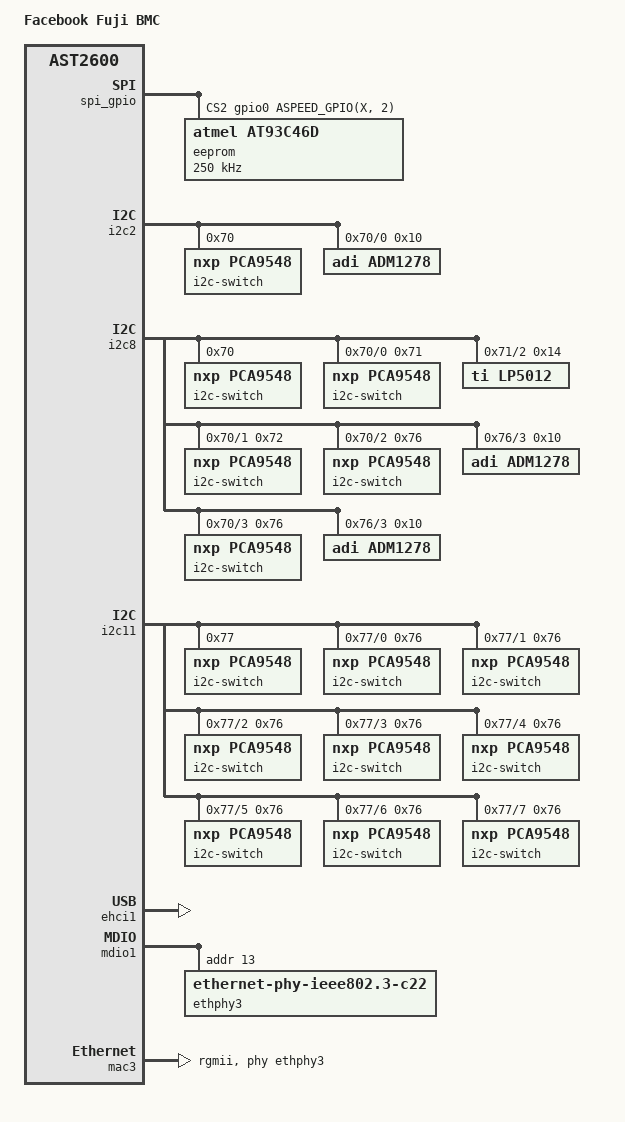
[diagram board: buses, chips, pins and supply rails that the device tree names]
// SPDX-License-Identifier: GPL-2.0+
// Copyright (c) 2020 Facebook Inc.

/dts-v1/;

#include <dt-bindings/leds/common.h>
#include "ast2600-facebook-netbmc-common.dtsi"

/ {
	model = "Facebook Fuji BMC";
	compatible = "facebook,fuji-bmc", "aspeed,ast2600";

	aliases {
		/*
		 * PCA9548 (2-0070) provides 8 channels connecting to
		 * SCM (System Controller Module).
		 */
		i2c16 = &imux16;
		i2c17 = &imux17;
		i2c18 = &imux18;
		i2c19 = &imux19;
		i2c20 = &imux20;
		i2c21 = &imux21;
		i2c22 = &imux22;
		i2c23 = &imux23;

		/*
		 * PCA9548 (8-0070) provides 8 channels connecting to
		 * SMB (Switch Main Board).
		 */
		i2c24 = &imux24;
		i2c25 = &imux25;
		i2c26 = &imux26;
		i2c27 = &imux27;
		i2c28 = &imux28;
		i2c29 = &imux29;
		i2c30 = &imux30;
		i2c31 = &imux31;

		/*
		 * PCA9548 (11-0077) provides 8 channels connecting to
		 * SMB (Switch Main Board).
		 */
		i2c40 = &imux40;
		i2c41 = &imux41;
		i2c42 = &imux42;
		i2c43 = &imux43;
		i2c44 = &imux44;
		i2c45 = &imux45;
		i2c46 = &imux46;
		i2c47 = &imux47;

		/*
		 * PCA9548 (24-0071) provides 8 channels connecting to
		 * PDB-Left.
		 */
		i2c48 = &imux48;
		i2c49 = &imux49;
		i2c50 = &imux50;
		i2c51 = &imux51;
		i2c52 = &imux52;
		i2c53 = &imux53;
		i2c54 = &imux54;
		i2c55 = &imux55;

		/*
		 * PCA9548 (25-0072) provides 8 channels connecting to
		 * PDB-Right.
		 */
		i2c56 = &imux56;
		i2c57 = &imux57;
		i2c58 = &imux58;
		i2c59 = &imux59;
		i2c60 = &imux60;
		i2c61 = &imux61;
		i2c62 = &imux62;
		i2c63 = &imux63;

		/*
		 * PCA9548 (26-0076) provides 8 channels connecting to
		 * FCM1.
		 */
		i2c64 = &imux64;
		i2c65 = &imux65;
		i2c66 = &imux66;
		i2c67 = &imux67;
		i2c68 = &imux68;
		i2c69 = &imux69;
		i2c70 = &imux70;
		i2c71 = &imux71;

		/*
		 * PCA9548 (27-0076) provides 8 channels connecting to
		 * FCM2.
		 */
		i2c72 = &imux72;
		i2c73 = &imux73;
		i2c74 = &imux74;
		i2c75 = &imux75;
		i2c76 = &imux76;
		i2c77 = &imux77;
		i2c78 = &imux78;
		i2c79 = &imux79;

		/*
		 * PCA9548 (40-0076) provides 8 channels connecting to
		 * PIM1.
		 */
		i2c80 = &imux80;
		i2c81 = &imux81;
		i2c82 = &imux82;
		i2c83 = &imux83;
		i2c84 = &imux84;
		i2c85 = &imux85;
		i2c86 = &imux86;
		i2c87 = &imux87;

		/*
		 * PCA9548 (41-0076) provides 8 channels connecting to
		 * PIM2.
		 */
		i2c88 = &imux88;
		i2c89 = &imux89;
		i2c90 = &imux90;
		i2c91 = &imux91;
		i2c92 = &imux92;
		i2c93 = &imux93;
		i2c94 = &imux94;
		i2c95 = &imux95;

		/*
		 * PCA9548 (42-0076) provides 8 channels connecting to
		 * PIM3.
		 */
		i2c96 = &imux96;
		i2c97 = &imux97;
		i2c98 = &imux98;
		i2c99 = &imux99;
		i2c100 = &imux100;
		i2c101 = &imux101;
		i2c102 = &imux102;
		i2c103 = &imux103;

		/*
		 * PCA9548 (43-0076) provides 8 channels connecting to
		 * PIM4.
		 */
		i2c104 = &imux104;
		i2c105 = &imux105;
		i2c106 = &imux106;
		i2c107 = &imux107;
		i2c108 = &imux108;
		i2c109 = &imux109;
		i2c110 = &imux110;
		i2c111 = &imux111;

		/*
		 * PCA9548 (44-0076) provides 8 channels connecting to
		 * PIM5.
		 */
		i2c112 = &imux112;
		i2c113 = &imux113;
		i2c114 = &imux114;
		i2c115 = &imux115;
		i2c116 = &imux116;
		i2c117 = &imux117;
		i2c118 = &imux118;
		i2c119 = &imux119;

		/*
		 * PCA9548 (45-0076) provides 8 channels connecting to
		 * PIM6.
		 */
		i2c120 = &imux120;
		i2c121 = &imux121;
		i2c122 = &imux122;
		i2c123 = &imux123;
		i2c124 = &imux124;
		i2c125 = &imux125;
		i2c126 = &imux126;
		i2c127 = &imux127;

		/*
		 * PCA9548 (46-0076) provides 8 channels connecting to
		 * PIM7.
		 */
		i2c128 = &imux128;
		i2c129 = &imux129;
		i2c130 = &imux130;
		i2c131 = &imux131;
		i2c132 = &imux132;
		i2c133 = &imux133;
		i2c134 = &imux134;
		i2c135 = &imux135;

		/*
		 * PCA9548 (47-0076) provides 8 channels connecting to
		 * PIM8.
		 */
		i2c136 = &imux136;
		i2c137 = &imux137;
		i2c138 = &imux138;
		i2c139 = &imux139;
		i2c140 = &imux140;
		i2c141 = &imux141;
		i2c142 = &imux142;
		i2c143 = &imux143;
	};

	spi_gpio: spi-gpio {
		num-chipselects = <3>;
		cs-gpios = <&gpio0 ASPEED_GPIO(X, 0) GPIO_ACTIVE_LOW>,
			   <0>,	/* device reg=<1> does not exist */
			   <&gpio0 ASPEED_GPIO(X, 2) GPIO_ACTIVE_HIGH>;

		eeprom@2 {
			compatible = "atmel,at93c46d";
			spi-max-frequency = <250000>;
			data-size = <16>;
			spi-cs-high;
			reg = <2>;
		};
	};
};

&i2c0 {
	multi-master;
	bus-frequency = <1000000>;
};

&i2c2 {
	/*
	 * PCA9548 (2-0070) provides 8 channels connecting to SCM (System
	 * Controller Module).
	 */
	i2c-switch@70 {
		compatible = "nxp,pca9548";
		#address-cells = <1>;
		#size-cells = <0>;
		reg = <0x70>;
		i2c-mux-idle-disconnect;

		imux16: i2c@0 {
			#address-cells = <1>;
			#size-cells = <0>;
			reg = <0>;

			adm1278@10 {
				compatible = "adi,adm1278";
				reg = <0x10>;
				#address-cells = <1>;
				#size-cells = <0>;
				shunt-resistor-micro-ohms = <1500>;
			};
		};

		imux17: i2c@1 {
			#address-cells = <1>;
			#size-cells = <0>;
			reg = <1>;
		};

		imux18: i2c@2 {
			#address-cells = <1>;
			#size-cells = <0>;
			reg = <2>;
		};

		imux19: i2c@3 {
			#address-cells = <1>;
			#size-cells = <0>;
			reg = <3>;
		};

		imux20: i2c@4 {
			#address-cells = <1>;
			#size-cells = <0>;
			reg = <4>;
		};

		imux21: i2c@5 {
			#address-cells = <1>;
			#size-cells = <0>;
			reg = <5>;
		};

		imux22: i2c@6 {
			#address-cells = <1>;
			#size-cells = <0>;
			reg = <6>;
		};

		imux23: i2c@7 {
			#address-cells = <1>;
			#size-cells = <0>;
			reg = <7>;
		};
	};
};

&i2c8 {
	/*
	 * PCA9548 (8-0070) provides 8 channels connecting to SMB (Switch
	 * Main Board).
	 */
	i2c-switch@70 {
		compatible = "nxp,pca9548";
		#address-cells = <1>;
		#size-cells = <0>;
		reg = <0x70>;
		i2c-mux-idle-disconnect;

		imux24: i2c@0 {
			#address-cells = <1>;
			#size-cells = <0>;
			reg = <0>;

			i2c-switch@71 {
				compatible = "nxp,pca9548";
				#address-cells = <1>;
				#size-cells = <0>;
				reg = <0x71>;
				i2c-mux-idle-disconnect;

				imux48: i2c@0 {
					#address-cells = <1>;
					#size-cells = <0>;
					reg = <0>;
				};

				imux49: i2c@1 {
					#address-cells = <1>;
					#size-cells = <0>;
					reg = <1>;
				};

				imux50: i2c@2 {
					#address-cells = <1>;
					#size-cells = <0>;
					reg = <2>;

					lp5012@14 {
						compatible = "ti,lp5012";
						reg = <0x14>;
						#address-cells = <1>;
						#size-cells = <0>;

						multi-led@0 {
							#address-cells = <1>;
							#size-cells = <0>;
							reg = <0>;
							color = <LED_COLOR_ID_MULTI>;
							function = LED_FUNCTION_ACTIVITY;
							label = "sys";

							led@0 {
								reg = <0>;
								color = <LED_COLOR_ID_RED>;
							};

							led@1 {
								reg = <1>;
								color = <LED_COLOR_ID_BLUE>;
							};

							led@2 {
								reg = <2>;
								color = <LED_COLOR_ID_GREEN>;
							};
						};

						multi-led@1 {
							#address-cells = <1>;
							#size-cells = <0>;
							reg = <1>;
							color = <LED_COLOR_ID_MULTI>;
							function = LED_FUNCTION_ACTIVITY;
							label = "fan";

							led@0 {
								reg = <0>;
								color = <LED_COLOR_ID_RED>;
							};

							led@1 {
								reg = <1>;
								color = <LED_COLOR_ID_BLUE>;
							};

							led@2 {
								reg = <2>;
								color = <LED_COLOR_ID_GREEN>;
							};
						};

						multi-led@2 {
							#address-cells = <1>;
							#size-cells = <0>;
							reg = <2>;
							color = <LED_COLOR_ID_MULTI>;
							function = LED_FUNCTION_ACTIVITY;
							label = "psu";

							led@0 {
								reg = <0>;
								color = <LED_COLOR_ID_RED>;
							};

							led@1 {
								reg = <1>;
								color = <LED_COLOR_ID_BLUE>;
							};

							led@2 {
								reg = <2>;
								color = <LED_COLOR_ID_GREEN>;
							};
						};

						multi-led@3 {
							#address-cells = <1>;
							#size-cells = <0>;
							reg = <3>;
							color = <LED_COLOR_ID_MULTI>;
							function = LED_FUNCTION_ACTIVITY;
							label = "smb";

							led@0 {
								reg = <0>;
								color = <LED_COLOR_ID_RED>;
							};

							led@1 {
								reg = <1>;
								color = <LED_COLOR_ID_BLUE>;
							};

							led@2 {
								reg = <2>;
								color = <LED_COLOR_ID_GREEN>;
							};
						};
					};
				};

				imux51: i2c@3 {
					#address-cells = <1>;
					#size-cells = <0>;
					reg = <3>;
				};

				imux52: i2c@4 {
					#address-cells = <1>;
					#size-cells = <0>;
					reg = <4>;
				};

				imux53: i2c@5 {
					#address-cells = <1>;
					#size-cells = <0>;
					reg = <5>;
				};

				imux54: i2c@6 {
					#address-cells = <1>;
					#size-cells = <0>;
					reg = <6>;
				};

				imux55: i2c@7 {
					#address-cells = <1>;
					#size-cells = <0>;
					reg = <7>;
				};
			};

		};

		imux25: i2c@1 {
			#address-cells = <1>;
			#size-cells = <0>;
			reg = <1>;

			i2c-switch@72 {
				compatible = "nxp,pca9548";
				#address-cells = <1>;
				#size-cells = <0>;
				reg = <0x72>;
				i2c-mux-idle-disconnect;

				imux56: i2c@0 {
					#address-cells = <1>;
					#size-cells = <0>;
					reg = <0>;
				};

				imux57: i2c@1 {
					#address-cells = <1>;
					#size-cells = <0>;
					reg = <1>;
				};

				imux58: i2c@2 {
					#address-cells = <1>;
					#size-cells = <0>;
					reg = <2>;
				};

				imux59: i2c@3 {
					#address-cells = <1>;
					#size-cells = <0>;
					reg = <3>;
				};

				imux60: i2c@4 {
					#address-cells = <1>;
					#size-cells = <0>;
					reg = <4>;
				};

				imux61: i2c@5 {
					#address-cells = <1>;
					#size-cells = <0>;
					reg = <5>;
				};

				imux62: i2c@6 {
					#address-cells = <1>;
					#size-cells = <0>;
					reg = <6>;
				};

				imux63: i2c@7 {
					#address-cells = <1>;
					#size-cells = <0>;
					reg = <7>;
				};
			};

		};

		imux26: i2c@2 {
			#address-cells = <1>;
			#size-cells = <0>;
			reg = <2>;

			i2c-switch@76 {
				compatible = "nxp,pca9548";
				#address-cells = <1>;
				#size-cells = <0>;
				reg = <0x76>;
				i2c-mux-idle-disconnect;

				imux64: i2c@0 {
					#address-cells = <1>;
					#size-cells = <0>;
					reg = <0>;
				};

				imux65: i2c@1 {
					#address-cells = <1>;
					#size-cells = <0>;
					reg = <1>;
				};

				imux66: i2c@2 {
					#address-cells = <1>;
					#size-cells = <0>;
					reg = <2>;
				};

				imux67: i2c@3 {
					#address-cells = <1>;
					#size-cells = <0>;
					reg = <3>;

					adm1278@10 {
						compatible = "adi,adm1278";
						reg = <0x10>;
						#address-cells = <1>;
						#size-cells = <0>;
						shunt-resistor-micro-ohms = <250>;
					};
				};

				imux68: i2c@4 {
					#address-cells = <1>;
					#size-cells = <0>;
					reg = <4>;
				};

				imux69: i2c@5 {
					#address-cells = <1>;
					#size-cells = <0>;
					reg = <5>;
				};

				imux70: i2c@6 {
					#address-cells = <1>;
					#size-cells = <0>;
					reg = <6>;
				};

				imux71: i2c@7 {
					#address-cells = <1>;
					#size-cells = <0>;
					reg = <7>;
				};
			};

		};

		imux27: i2c@3 {
			#address-cells = <1>;
			#size-cells = <0>;
			reg = <3>;

			i2c-switch@76 {
				compatible = "nxp,pca9548";
				#address-cells = <1>;
				#size-cells = <0>;
				reg = <0x76>;
				i2c-mux-idle-disconnect;

				imux72: i2c@0 {
					#address-cells = <1>;
					#size-cells = <0>;
					reg = <0>;
				};

				imux73: i2c@1 {
					#address-cells = <1>;
					#size-cells = <0>;
					reg = <1>;
				};

				imux74: i2c@2 {
					#address-cells = <1>;
					#size-cells = <0>;
					reg = <2>;
				};

				imux75: i2c@3 {
					#address-cells = <1>;
					#size-cells = <0>;
					reg = <3>;

					adm1278@10 {
						compatible = "adi,adm1278";
						reg = <0x10>;
						#address-cells = <1>;
						#size-cells = <0>;
						shunt-resistor-micro-ohms = <250>;
					};
				};

				imux76: i2c@4 {
					#address-cells = <1>;
					#size-cells = <0>;
					reg = <4>;
				};

				imux77: i2c@5 {
					#address-cells = <1>;
					#size-cells = <0>;
					reg = <5>;
				};

				imux78: i2c@6 {
					#address-cells = <1>;
					#size-cells = <0>;
					reg = <6>;
				};

				imux79: i2c@7 {
					#address-cells = <1>;
					#size-cells = <0>;
					reg = <7>;
				};
			};

		};

		imux28: i2c@4 {
			#address-cells = <1>;
			#size-cells = <0>;
			reg = <4>;
		};

		imux29: i2c@5 {
			#address-cells = <1>;
			#size-cells = <0>;
			reg = <5>;
		};

		imux30: i2c@6 {
			#address-cells = <1>;
			#size-cells = <0>;
			reg = <6>;
		};

		imux31: i2c@7 {
			#address-cells = <1>;
			#size-cells = <0>;
			reg = <7>;
		};

	};
};

&i2c11 {
	status = "okay";

	/*
	 * PCA9548 (11-0077) provides 8 channels connecting to SMB (Switch
	 * Main Board).
	 */
	i2c-switch@77 {
		compatible = "nxp,pca9548";
		#address-cells = <1>;
		#size-cells = <0>;
		reg = <0x77>;
		i2c-mux-idle-disconnect;

		imux40: i2c@0 {
			#address-cells = <1>;
			#size-cells = <0>;
			reg = <0>;

			i2c-switch@76 {
				compatible = "nxp,pca9548";
				#address-cells = <1>;
				#size-cells = <0>;
				reg = <0x76>;
				i2c-mux-idle-disconnect;

				imux80: i2c@0 {
					#address-cells = <1>;
					#size-cells = <0>;
					reg = <0>;
				};

				imux81: i2c@1 {
					#address-cells = <1>;
					#size-cells = <0>;
					reg = <1>;
				};

				imux82: i2c@2 {
					#address-cells = <1>;
					#size-cells = <0>;
					reg = <2>;
				};

				imux83: i2c@3 {
					#address-cells = <1>;
					#size-cells = <0>;
					reg = <3>;
				};

				imux84: i2c@4 {
					#address-cells = <1>;
					#size-cells = <0>;
					reg = <4>;
				};

				imux85: i2c@5 {
					#address-cells = <1>;
					#size-cells = <0>;
					reg = <5>;
				};

				imux86: i2c@6 {
					#address-cells = <1>;
					#size-cells = <0>;
					reg = <6>;
				};

				imux87: i2c@7 {
					#address-cells = <1>;
					#size-cells = <0>;
					reg = <7>;
				};
			};

		};

		imux41: i2c@1 {
			#address-cells = <1>;
			#size-cells = <0>;
			reg = <1>;

			i2c-switch@76 {
				compatible = "nxp,pca9548";
				#address-cells = <1>;
				#size-cells = <0>;
				reg = <0x76>;
				i2c-mux-idle-disconnect;

				imux88: i2c@0 {
					#address-cells = <1>;
					#size-cells = <0>;
					reg = <0>;
				};

				imux89: i2c@1 {
					#address-cells = <1>;
					#size-cells = <0>;
					reg = <1>;
				};

				imux90: i2c@2 {
					#address-cells = <1>;
					#size-cells = <0>;
					reg = <2>;
				};

				imux91: i2c@3 {
					#address-cells = <1>;
					#size-cells = <0>;
					reg = <3>;
				};

				imux92: i2c@4 {
					#address-cells = <1>;
					#size-cells = <0>;
					reg = <4>;
				};

				imux93: i2c@5 {
					#address-cells = <1>;
					#size-cells = <0>;
					reg = <5>;
				};

				imux94: i2c@6 {
					#address-cells = <1>;
					#size-cells = <0>;
					reg = <6>;
				};

				imux95: i2c@7 {
					#address-cells = <1>;
					#size-cells = <0>;
					reg = <7>;
				};
			};

		};

		imux42: i2c@2 {
			#address-cells = <1>;
			#size-cells = <0>;
			reg = <2>;

			i2c-switch@76 {
				compatible = "nxp,pca9548";
				#address-cells = <1>;
				#size-cells = <0>;
				reg = <0x76>;
				i2c-mux-idle-disconnect;

				imux96: i2c@0 {
					#address-cells = <1>;
					#size-cells = <0>;
					reg = <0>;
				};

				imux97: i2c@1 {
					#address-cells = <1>;
					#size-cells = <0>;
					reg = <1>;
				};

				imux98: i2c@2 {
					#address-cells = <1>;
					#size-cells = <0>;
					reg = <2>;
				};

				imux99: i2c@3 {
					#address-cells = <1>;
					#size-cells = <0>;
					reg = <3>;
				};

				imux100: i2c@4 {
					#address-cells = <1>;
					#size-cells = <0>;
					reg = <4>;
				};

				imux101: i2c@5 {
					#address-cells = <1>;
					#size-cells = <0>;
					reg = <5>;
				};

				imux102: i2c@6 {
					#address-cells = <1>;
					#size-cells = <0>;
					reg = <6>;
				};

				imux103: i2c@7 {
					#address-cells = <1>;
					#size-cells = <0>;
					reg = <7>;
				};
			};

		};

		imux43: i2c@3 {
			#address-cells = <1>;
			#size-cells = <0>;
			reg = <3>;

			i2c-switch@76 {
				compatible = "nxp,pca9548";
				#address-cells = <1>;
				#size-cells = <0>;
				reg = <0x76>;
				i2c-mux-idle-disconnect;

				imux104: i2c@0 {
					#address-cells = <1>;
					#size-cells = <0>;
					reg = <0>;
				};

				imux105: i2c@1 {
					#address-cells = <1>;
					#size-cells = <0>;
					reg = <1>;
				};

				imux106: i2c@2 {
					#address-cells = <1>;
					#size-cells = <0>;
					reg = <2>;
				};

				imux107: i2c@3 {
					#address-cells = <1>;
					#size-cells = <0>;
					reg = <3>;
				};

				imux108: i2c@4 {
					#address-cells = <1>;
					#size-cells = <0>;
					reg = <4>;
				};

				imux109: i2c@5 {
					#address-cells = <1>;
					#size-cells = <0>;
					reg = <5>;
				};

				imux110: i2c@6 {
					#address-cells = <1>;
					#size-cells = <0>;
					reg = <6>;
				};

				imux111: i2c@7 {
					#address-cells = <1>;
					#size-cells = <0>;
					reg = <7>;
				};
			};

		};

		imux44: i2c@4 {
			#address-cells = <1>;
			#size-cells = <0>;
			reg = <4>;

			i2c-switch@76 {
				compatible = "nxp,pca9548";
				#address-cells = <1>;
				#size-cells = <0>;
				reg = <0x76>;
				i2c-mux-idle-disconnect;

				imux112: i2c@0 {
					#address-cells = <1>;
					#size-cells = <0>;
					reg = <0>;
				};

				imux113: i2c@1 {
					#address-cells = <1>;
					#size-cells = <0>;
					reg = <1>;
				};

				imux114: i2c@2 {
					#address-cells = <1>;
					#size-cells = <0>;
					reg = <2>;
				};

				imux115: i2c@3 {
					#address-cells = <1>;
					#size-cells = <0>;
					reg = <3>;
				};

				imux116: i2c@4 {
					#address-cells = <1>;
					#size-cells = <0>;
					reg = <4>;
				};

				imux117: i2c@5 {
					#address-cells = <1>;
					#size-cells = <0>;
					reg = <5>;
				};

				imux118: i2c@6 {
					#address-cells = <1>;
					#size-cells = <0>;
					reg = <6>;
				};

				imux119: i2c@7 {
					#address-cells = <1>;
					#size-cells = <0>;
					reg = <7>;
				};
			};

		};

		imux45: i2c@5 {
			#address-cells = <1>;
			#size-cells = <0>;
			reg = <5>;

			i2c-switch@76 {
				compatible = "nxp,pca9548";
				#address-cells = <1>;
				#size-cells = <0>;
				reg = <0x76>;
				i2c-mux-idle-disconnect;

				imux120: i2c@0 {
					#address-cells = <1>;
					#size-cells = <0>;
					reg = <0>;
				};

				imux121: i2c@1 {
					#address-cells = <1>;
					#size-cells = <0>;
					reg = <1>;
				};

				imux122: i2c@2 {
					#address-cells = <1>;
					#size-cells = <0>;
					reg = <2>;
				};

				imux123: i2c@3 {
					#address-cells = <1>;
					#size-cells = <0>;
					reg = <3>;
				};

				imux124: i2c@4 {
					#address-cells = <1>;
					#size-cells = <0>;
					reg = <4>;
				};

				imux125: i2c@5 {
					#address-cells = <1>;
					#size-cells = <0>;
					reg = <5>;
				};

				imux126: i2c@6 {
					#address-cells = <1>;
					#size-cells = <0>;
					reg = <6>;
				};

				imux127: i2c@7 {
					#address-cells = <1>;
					#size-cells = <0>;
					reg = <7>;
				};
			};

		};

		imux46: i2c@6 {
			#address-cells = <1>;
			#size-cells = <0>;
			reg = <6>;

			i2c-switch@76 {
				compatible = "nxp,pca9548";
				#address-cells = <1>;
				#size-cells = <0>;
				reg = <0x76>;
				i2c-mux-idle-disconnect;

				imux128: i2c@0 {
					#address-cells = <1>;
					#size-cells = <0>;
					reg = <0>;
				};

				imux129: i2c@1 {
					#address-cells = <1>;
					#size-cells = <0>;
					reg = <1>;
				};

				imux130: i2c@2 {
					#address-cells = <1>;
					#size-cells = <0>;
					reg = <2>;
				};

				imux131: i2c@3 {
					#address-cells = <1>;
					#size-cells = <0>;
					reg = <3>;
				};

				imux132: i2c@4 {
					#address-cells = <1>;
					#size-cells = <0>;
					reg = <4>;
				};

				imux133: i2c@5 {
					#address-cells = <1>;
					#size-cells = <0>;
					reg = <5>;
				};

				imux134: i2c@6 {
					#address-cells = <1>;
					#size-cells = <0>;
					reg = <6>;
				};

				imux135: i2c@7 {
					#address-cells = <1>;
					#size-cells = <0>;
					reg = <7>;
				};
			};

		};

		imux47: i2c@7 {
			#address-cells = <1>;
			#size-cells = <0>;
			reg = <7>;

			i2c-switch@76 {
				compatible = "nxp,pca9548";
				#address-cells = <1>;
				#size-cells = <0>;
				reg = <0x76>;
				i2c-mux-idle-disconnect;

				imux136: i2c@0 {
					#address-cells = <1>;
					#size-cells = <0>;
					reg = <0>;
				};

				imux137: i2c@1 {
					#address-cells = <1>;
					#size-cells = <0>;
					reg = <1>;
				};

				imux138: i2c@2 {
					#address-cells = <1>;
					#size-cells = <0>;
					reg = <2>;
				};

				imux139: i2c@3 {
					#address-cells = <1>;
					#size-cells = <0>;
					reg = <3>;
				};

				imux140: i2c@4 {
					#address-cells = <1>;
					#size-cells = <0>;
					reg = <4>;
				};

				imux141: i2c@5 {
					#address-cells = <1>;
					#size-cells = <0>;
					reg = <5>;
				};

				imux142: i2c@6 {
					#address-cells = <1>;
					#size-cells = <0>;
					reg = <6>;
				};

				imux143: i2c@7 {
					#address-cells = <1>;
					#size-cells = <0>;
					reg = <7>;
				};
			};

		};

	};
};

&ehci1 {
	status = "okay";
};

&mdio1 {
	status = "okay";

	ethphy3: ethernet-phy@13 {
		compatible = "ethernet-phy-ieee802.3-c22";
		reg = <0x0d>;
	};
};

&mac3 {
	status = "okay";
	phy-mode = "rgmii";
	phy-handle = <&ethphy3>;
	pinctrl-names = "default";
	pinctrl-0 = <&pinctrl_rgmii4_default>;
};
